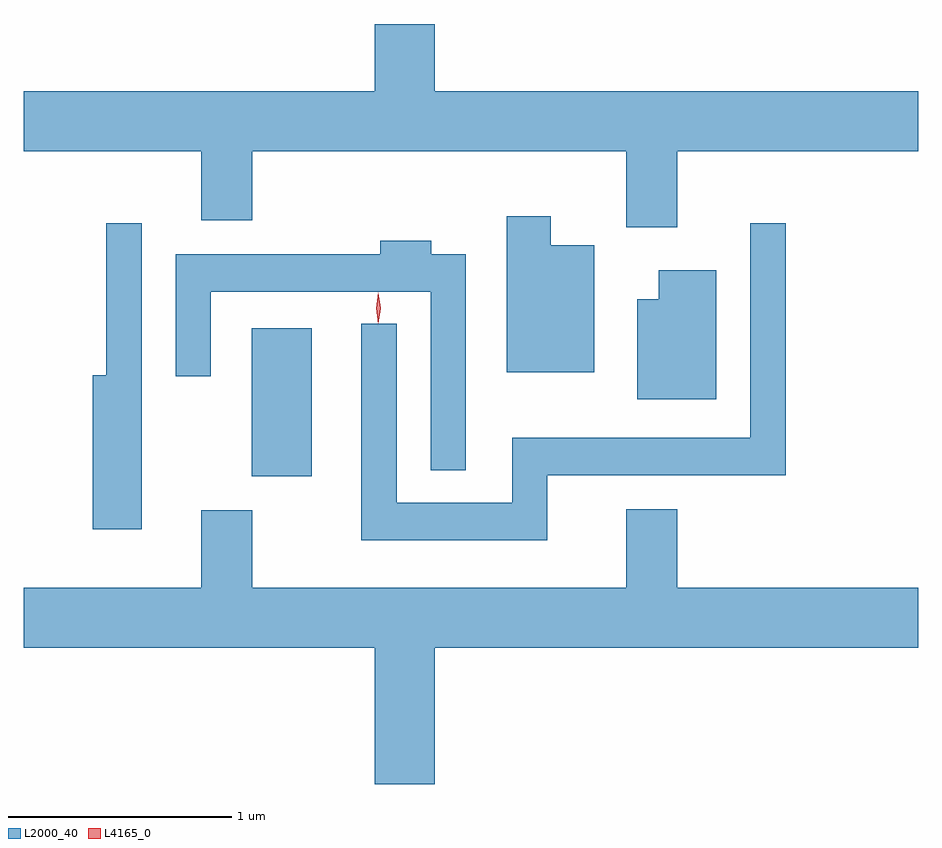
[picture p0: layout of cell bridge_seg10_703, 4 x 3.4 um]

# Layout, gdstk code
import gdstk
lib = gdstk.Library(unit=1e-6, precision=1e-09)
def R(c, l, rs):  # rectangles x0, y0, x1, y1
    for r in rs: c.add(gdstk.rectangle(r[:2], r[2:], *l))
def P(c, l, *ps):  # polygons
    for p in ps: c.add(gdstk.Polygon(p, *l))
L2000_40 = (2000, 40)
L4165_0 = (4165, 0)

bridge_seg10_703 = lib.new_cell('bridge_seg10_703')
R(bridge_seg10_703, L2000_40, [(893.846,2141.321,894.114,2141.984)])
P(bridge_seg10_703, L2000_40, [(895.521,2142.436),(895.749,2142.436),(895.749,2142.776),(896.827,2142.776),(896.827,2143.044),(894.664,2143.044),(894.664,2143.344),(894.396,2143.344),(894.396,2143.044),(892.827,2143.044),(892.827,2142.776),(893.621,2142.776),(893.621,2142.466),(893.849,2142.466),(893.849,2142.776),(895.521,2142.776)],
  [(895.379,2142.354),(895.184,2142.354),(895.184,2142.484),(894.986,2142.484),(894.986,2141.786),(895.379,2141.786)],
  [(895.169,2141.326),(896.234,2141.326),(896.234,2142.453),(896.076,2142.453),(896.076,2141.494),(895.011,2141.494),(895.011,2141.204),(894.494,2141.204),(894.494,2142.003),(894.336,2142.003),(894.336,2141.036),(895.169,2141.036)],
  [(893.354,2142.453),(893.196,2142.453),(893.196,2141.774),(893.136,2141.774),(893.136,2141.086),(893.354,2141.086)],
  [(894.804,2142.314),(894.649,2142.314),(894.649,2142.374),(894.421,2142.374),(894.421,2142.314),(893.506,2142.314),(893.506,2141.768),(893.664,2141.768),(893.664,2142.146),(894.646,2142.146),(894.646,2141.348),(894.804,2141.348)],
  [(895.924,2142.244),(895.666,2142.244),(895.666,2142.114),(895.571,2142.114),(895.571,2141.666),(895.924,2141.666)],
  [(896.827,2140.824),(895.749,2140.824),(895.749,2141.174),(895.521,2141.174),(895.521,2140.824),(893.849,2140.824),(893.849,2141.169),(893.621,2141.169),(893.621,2140.824),(892.827,2140.824),(892.827,2140.556),(894.396,2140.556),(894.396,2139.946),(894.664,2139.946),(894.664,2140.556),(896.827,2140.556)])
P(bridge_seg10_703, L4165_0, [(894.412,2142.007),(894.403,2142.074),(894.412,2142.14),(894.413,2142.14),(894.413,2142.14),(894.423,2142.074),(894.413,2142.007),(894.413,2142.007)],
  [(894.412,2142.004),(894.403,2142.073),(894.412,2142.142),(894.413,2142.143),(894.413,2142.142),(894.423,2142.073),(894.413,2142.004),(894.413,2142.004)])

lib.write_gds('bridge_seg10_703.gds')
